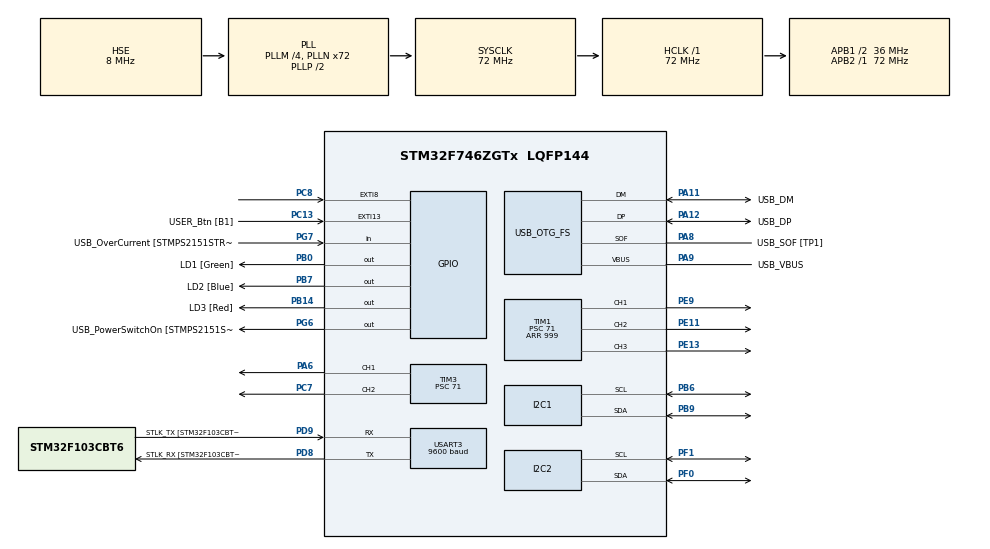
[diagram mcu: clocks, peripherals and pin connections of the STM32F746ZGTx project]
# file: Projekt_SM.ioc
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I2C1.Timing=0x00808CD2
I2C2.Timing=0x00808CD2
Mcu.Family=STM32F7
Mcu.Name=STM32F746ZGTx
Mcu.Package=LQFP144
NVIC.I2C1_ER_IRQn=true\:0\:0\:false\:false\:true\:true\:true
NVIC.I2C1_EV_IRQn=true\:0\:0\:false\:false\:true\:true\:true
NVIC.I2C2_ER_IRQn=true\:0\:0\:false\:false\:true\:true\:true
NVIC.I2C2_EV_IRQn=true\:0\:0\:false\:false\:true\:true\:true
NVIC.PriorityGroup=NVIC_PRIORITYGROUP_4
NVIC.USART3_IRQn=true\:0\:0\:false\:false\:true\:true\:true
PA1.GPIO_Label=RMII_REF_CLK [LAN8742A-CZ-TR_REFCLK0]
PA1.Signal=ETH_REF_CLK
PA10.GPIO_Label=USB_ID
PA10.Signal=USB_OTG_FS_ID
PA11.GPIO_Label=USB_DM
PA11.Mode=Device_Only
PA11.Signal=USB_OTG_FS_DM
PA12.GPIO_Label=USB_DP
PA12.Mode=Device_Only
PA12.Signal=USB_OTG_FS_DP
PA13.GPIO_Label=TMS
PA13.Mode=Serial_Wire
PA13.Signal=SYS_JTMS-SWDIO
PA14.GPIO_Label=TCK
PA14.Mode=Serial_Wire
PA14.Signal=SYS_JTCK-SWCLK
PA2.GPIO_Label=RMII_MDIO [LAN8742A-CZ-TR_MDIO]
PA2.Signal=ETH_MDIO
PA6.Signal=S_TIM3_CH1
PA7.GPIO_Label=RMII_CRS_DV [LAN8742A-CZ-TR_CRS_DV]
PA7.Signal=ETH_CRS_DV
PA8.GPIO_Label=USB_SOF [TP1]
PA8.Mode=Activate_SOF_FS
PA8.Signal=USB_OTG_FS_SOF
PA9.GPIO_Label=USB_VBUS
PA9.Mode=Activate_VBUS
PA9.Signal=USB_OTG_FS_VBUS
PB0.GPIO_Label=LD1 [Green]
PB0.Signal=GPIO_Output
PB13.GPIO_Label=RMII_TXD1 [LAN8742A-CZ-TR_TXD1]
PB13.Signal=ETH_TXD1
PB14.GPIO_Label=LD3 [Red]
PB14.Signal=GPIO_Output
PB3.GPIO_Label=SW0
PB3.Signal=SYS_JTDO-SWO
PB6.Mode=I2C
PB6.Signal=I2C1_SCL
PB7.GPIO_Label=LD2 [Blue]
PB7.Signal=GPIO_Output
PB9.Mode=I2C
PB9.Signal=I2C1_SDA
PC1.GPIO_Label=RMII_MDC [LAN8742A-CZ-TR_MDC]
PC1.Signal=ETH_MDC
PC13.GPIO_Label=USER_Btn [B1]
PC13.Signal=GPXTI13
PC14/OSC32_IN.Mode=LSE-External-Oscillator
PC14/OSC32_IN.Signal=RCC_OSC32_IN
PC15/OSC32_OUT.Mode=LSE-External-Oscillator
PC15/OSC32_OUT.Signal=RCC_OSC32_OUT
PC4.GPIO_Label=RMII_RXD0 [LAN8742A-CZ-TR_RXD0]
PC4.Signal=ETH_RXD0
PC5.GPIO_Label=RMII_RXD1 [LAN8742A-CZ-TR_RXD1]
PC5.Signal=ETH_RXD1
PC7.Signal=S_TIM3_CH2
PC8.Signal=GPXTI8
PD8.GPIO_Label=STLK_RX [STM32F103CBT6_PA3]
PD8.Mode=Asynchronous
PD8.Signal=USART3_TX
PD9.GPIO_Label=STLK_TX [STM32F103CBT6_PA2]
PD9.Mode=Asynchronous
PD9.Signal=USART3_RX
PE11.Signal=S_TIM1_CH2
PE13.Signal=S_TIM1_CH3
PE9.Signal=S_TIM1_CH1
PF0.Mode=I2C
PF0.Signal=I2C2_SDA
PF1.Mode=I2C
PF1.Signal=I2C2_SCL
PG11.GPIO_Label=RMII_TX_EN [LAN8742A-CZ-TR_TXEN]
PG11.Signal=ETH_TX_EN
PG13.GPIO_Label=RMII_TXD0 [LAN8742A-CZ-TR_TXD0]
PG13.Signal=ETH_TXD0
PG6.GPIO_Label=USB_PowerSwitchOn [STMPS2151STR_EN]
PG6.Signal=GPIO_Output
PG7.GPIO_Label=USB_OverCurrent [STMPS2151STR_FAULT]
PG7.Signal=GPIO_Input
PH0/OSC_IN.GPIO_Label=MCO [STM32F103CBT6_PA8]
PH0/OSC_IN.Mode=HSE-External-Clock-Source
PH0/OSC_IN.Signal=RCC_OSC_IN
PH1/OSC_OUT.Mode=HSE-External-Clock-Source
PH1/OSC_OUT.Signal=RCC_OSC_OUT
ProjectManager.HeapSize=0x200
ProjectManager.StackSize=0x400
ProjectManager.TargetToolchain=STM32CubeIDE
RCC.48MHZClocksFreq_Value=24000000
RCC.AHBFreq_Value=72000000
RCC.APB1CLKDivider=RCC_HCLK_DIV2
RCC.APB1Freq_Value=36000000
RCC.APB1TimFreq_Value=72000000
RCC.APB2Freq_Value=72000000
RCC.APB2TimFreq_Value=72000000
RCC.CortexFreq_Value=72000000
RCC.HCLKFreq_Value=72000000
RCC.HSE_VALUE=8000000
RCC.HSI_VALUE=16000000
RCC.PLLM=4
RCC.PLLMUL=RCC_PLL_MUL9
RCC.PLLN=72
RCC.PLLQ=3
RCC.PRESCALERUSB=RCC_USBCLKSOURCE_PLL_DIV1_5
RCC.SYSCLKFreq_VALUE=72000000
RCC.SYSCLKSource=RCC_SYSCLKSOURCE_PLLCLK
RCC.SYSCLKSourceVirtual=RCC_SYSCLKSOURCE_PLLCLK
RCC.USBFreq_Value=48000000
RCC.VCOOutputFreq_Value=144000000
SH.S_TIM1_CH1.0=TIM1_CH1,PWM Generation1 CH1
SH.S_TIM1_CH2.0=TIM1_CH2,PWM Generation2 CH2
SH.S_TIM1_CH3.0=TIM1_CH3,PWM Generation3 CH3
SH.S_TIM3_CH1.0=TIM3_CH1,PWM Generation1 CH1
SH.S_TIM3_CH2.0=TIM3_CH2,PWM Generation2 CH2
TIM1.Channel-PWM\ Generation1\ CH1=TIM_CHANNEL_1
TIM1.Channel-PWM\ Generation2\ CH2=TIM_CHANNEL_2
TIM1.Channel-PWM\ Generation3\ CH3=TIM_CHANNEL_3
TIM1.Period=999
TIM1.Prescaler=71
TIM1.Pulse-PWM\ Generation1\ CH1=500
TIM1.Pulse-PWM\ Generation2\ CH2=500
TIM1.Pulse-PWM\ Generation3\ CH3=500
TIM3.Channel-PWM\ Generation1\ CH1=TIM_CHANNEL_1
TIM3.Channel-PWM\ Generation2\ CH2=TIM_CHANNEL_2
TIM3.Period=999
TIM3.Prescaler=71
USART3.BaudRate=9600
USART3.VirtualMode-Asynchronous=VM_ASYNC
USB_OTG_FS.VirtualMode=Device_Only
VP_TIM1_VS_ClockSourceINT.Mode=Internal
board=NUCLEO-F746ZG

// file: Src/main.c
/* USER CODE BEGIN Header */
/**
  ******************************************************************************
  * @file           : main.c
  * @brief          : Main program body
  ******************************************************************************
  * @attention
  *
  * <h2><center>&copy; Copyright (c) 2020 STMicroelectronics.
  * All rights reserved.</center></h2>
  *
  * This software component is licensed by ST under BSD 3-Clause license,
  * the "License"; You may not use this file except in compliance with the
  * License. You may obtain a copy of the License at:
  *                        opensource.org/licenses/BSD-3-Clause
  *
  ******************************************************************************
  */
/* USER CODE END Header */

#include "main.h"
#include "i2c.h"
#include "tim.h"
#include "usart.h"
#include "usb_otg.h"
#include "gpio.h"

/* USER CODE BEGIN Includes */
#include "bh1750.h"
#include "stdio.h"
#include "string.h"
#include "math.h"
/* USER CODE END Includes */

/* USER CODE BEGIN PV */
float BH1750_lux_1; //!< warość odczytu z czujnika
int BH1750_lux_int_1; //!< wartość odczytu z czujnika przekonwertowany do int
uint8_t size;  //!< rozmiar wiadomości z sprintf
char msg[3]; //!< bufor odbioru USART
char buffer[40];  //!< bufor wysyłu USART
int NightMode=10; //!< zmienna pomocnicza do PWM trybu nocnego
float J_z;  //!< jasnosc zadana
float J_f;  //!< jasnosc wyliczona
int wyp; //!< wypełnienie PWM
int pom=0; //!< sterująca do wyświetlania podglądu zmiennych
/* USER CODE END PV */

void SystemClock_Config(void);

int main(void)
{

  /* MCU Configuration--------------------------------------------------------*/

  /* Reset of all peripherals, Initializes the Flash interface and the Systick. */
  HAL_Init();

  /* Configure the system clock */
  SystemClock_Config();

  /* Initialize all configured peripherals */
  MX_GPIO_Init();
  MX_USART3_UART_Init();
  MX_USB_OTG_FS_PCD_Init();
  MX_I2C1_Init();
  MX_I2C2_Init();
  MX_TIM3_Init();
  MX_TIM1_Init();
  /* USER CODE BEGIN 2 */

  /*! Ustawienie używanych modułów komunikacji i PWM */
  HAL_UART_Receive_IT(&huart3, msg, 3);
  BH1750_Init(&hi2c2);
  BH1750_SetMode(CONTINUOUS_HIGH_RES_MODE_2);
  HAL_TIM_PWM_Start(&htim1, TIM_CHANNEL_1);
  HAL_TIM_PWM_Start(&htim1, TIM_CHANNEL_2);
  HAL_TIM_PWM_Start(&htim1, TIM_CHANNEL_3);

  /* USER CODE END 2 */

  /* Infinite loop */
  /* USER CODE BEGIN WHILE */

  J_z=__HAL_TIM_GET_COMPARE(&htim1, TIM_CHANNEL_1);
  /*! pętla główna */
  while (1)
  {
	 	  if(BH1750_OK == BH1750_ReadLight(&BH1750_lux_1))
	 	  {
	 		 BH1750_lux_int_1 = BH1750_lux_1;

	 		 J_f=J_z*((1000-BH1750_lux_1)/1000);
	 		 wyp=J_f/(0.75);

			/*! domyślne ustawienie wartości PWM */
	 		 if(wyp>0 && wyp <=1000)
	 		 {
	 			__HAL_TIM_SET_COMPARE(&htim1, TIM_CHANNEL_1, wyp);
	 			__HAL_TIM_SET_COMPARE(&htim1, TIM_CHANNEL_2, wyp*NightMode/10);
	 			__HAL_TIM_SET_COMPARE(&htim1, TIM_CHANNEL_3, wyp*NightMode/10);
	 		 }
			 /*! reakcja gdy podana warość wykracza poza zakres */
	 		 else if(wyp>1000)
	 		 {
	 			 wyp=1000;
	 			__HAL_TIM_SET_COMPARE(&htim1, TIM_CHANNEL_1, wyp);
	 			__HAL_TIM_SET_COMPARE(&htim1, TIM_CHANNEL_2, wyp*NightMode/10);
	 			__HAL_TIM_SET_COMPARE(&htim1, TIM_CHANNEL_3, wyp*NightMode/10);
	 		 }
			 /*! wyłączenie światła */
	 		 else
	 		 {
	 			 wyp=0;
	 			__HAL_TIM_SET_COMPARE(&htim1, TIM_CHANNEL_1, wyp);
	 			__HAL_TIM_SET_COMPARE(&htim1, TIM_CHANNEL_2, wyp*NightMode/10);
	 			__HAL_TIM_SET_COMPARE(&htim1, TIM_CHANNEL_3, wyp*NightMode/10);
	 		 }
			 /*! Wysłanie statusu po porcie szeregowym */
	 		 if(pom==1)
	 		 {
	 			 size = sprintf(buffer, "%d,%d,%d;\n\r",(int)J_z,BH1750_lux_int_1,wyp);
	 			 HAL_UART_Transmit_IT(&huart3, buffer, size);
	 			 HAL_Delay(10);
	 		 }
	 	  }

    /* USER CODE END WHILE */

  }
}

void SystemClock_Config(void)
{
  RCC_OscInitTypeDef RCC_OscInitStruct = {0};
  RCC_ClkInitTypeDef RCC_ClkInitStruct = {0};
  RCC_PeriphCLKInitTypeDef PeriphClkInitStruct = {0};

  /** Configure LSE Drive Capability
  */
  HAL_PWR_EnableBkUpAccess();
  /** Configure the main internal regulator output voltage
  */
  __HAL_RCC_PWR_CLK_ENABLE();
  __HAL_PWR_VOLTAGESCALING_CONFIG(PWR_REGULATOR_VOLTAGE_SCALE3);
  /** Initializes the CPU, AHB and APB busses clocks
  */
  RCC_OscInitStruct.OscillatorType = RCC_OSCILLATORTYPE_HSE;
  RCC_OscInitStruct.HSEState = RCC_HSE_BYPASS;
  RCC_OscInitStruct.PLL.PLLState = RCC_PLL_ON;
  RCC_OscInitStruct.PLL.PLLSource = RCC_PLLSOURCE_HSE;
  RCC_OscInitStruct.PLL.PLLM = 4;
  RCC_OscInitStruct.PLL.PLLN = 72;
  RCC_OscInitStruct.PLL.PLLP = RCC_PLLP_DIV2;
  RCC_OscInitStruct.PLL.PLLQ = 3;
  if (HAL_RCC_OscConfig(&RCC_OscInitStruct) != HAL_OK)
  {
    Error_Handler();
  }
  /** Initializes the CPU, AHB and APB busses clocks
  */
  RCC_ClkInitStruct.ClockType = RCC_CLOCKTYPE_HCLK|RCC_CLOCKTYPE_SYSCLK
                              |RCC_CLOCKTYPE_PCLK1|RCC_CLOCKTYPE_PCLK2;
  RCC_ClkInitStruct.SYSCLKSource = RCC_SYSCLKSOURCE_PLLCLK;
  RCC_ClkInitStruct.AHBCLKDivider = RCC_SYSCLK_DIV1;
  RCC_ClkInitStruct.APB1CLKDivider = RCC_HCLK_DIV2;
  RCC_ClkInitStruct.APB2CLKDivider = RCC_HCLK_DIV1;

  if (HAL_RCC_ClockConfig(&RCC_ClkInitStruct, FLASH_LATENCY_2) != HAL_OK)
  {
    Error_Handler();
  }
  PeriphClkInitStruct.PeriphClockSelection = RCC_PERIPHCLK_USART3|RCC_PERIPHCLK_I2C1
                              |RCC_PERIPHCLK_I2C2|RCC_PERIPHCLK_CLK48;
  PeriphClkInitStruct.Usart3ClockSelection = RCC_USART3CLKSOURCE_PCLK1;
  PeriphClkInitStruct.I2c1ClockSelection = RCC_I2C1CLKSOURCE_PCLK1;
  PeriphClkInitStruct.I2c2ClockSelection = RCC_I2C2CLKSOURCE_PCLK1;
  PeriphClkInitStruct.Clk48ClockSelection = RCC_CLK48SOURCE_PLL;
  if (HAL_RCCEx_PeriphCLKConfig(&PeriphClkInitStruct) != HAL_OK)
  {
    Error_Handler();
  }
}

/* USER CODE BEGIN 4 */

/*! przerwanie od USARTa*/
void HAL_UART_RxCpltCallback(UART_HandleTypeDef *huart)
{
	if(huart->Instance == USART3)
	{

	char value1[3];

	int value_i1;

	value1[0] = msg[0];
	value1[1] = msg[1];
	value1[2] = msg[2];

	value_i1 = 10*(atoi(value1));

	if(atoi(value1) <=100)
	{
		J_z=value_i1;
	}

	/*! włączenie trybu nocnego */
	if(atoi(value1) == 999)
	{
		HAL_GPIO_WritePin(LD2_GPIO_Port, LD2_Pin, GPIO_PIN_SET);
		NightMode=4;
		wyp=__HAL_TIM_GET_COMPARE(&htim1, TIM_CHANNEL_1);
		size=sprintf(buffer,"NIGHT MODE ON\n\r");
		HAL_UART_Transmit_IT(&huart3, buffer, size);
		__HAL_TIM_SET_COMPARE(&htim1, TIM_CHANNEL_1, wyp);
		__HAL_TIM_SET_COMPARE(&htim1, TIM_CHANNEL_2, wyp*NightMode/10);
		__HAL_TIM_SET_COMPARE(&htim1, TIM_CHANNEL_3, wyp*NightMode/10);
	}
	/*! wyłączenie trybu nocnego */
	if(atoi(value1) == 998)
	{
		HAL_GPIO_WritePin(LD2_GPIO_Port, LD2_Pin, GPIO_PIN_RESET);
		NightMode=10;
		wyp=__HAL_TIM_GET_COMPARE(&htim1, TIM_CHANNEL_1);
		size=sprintf(buffer,"NIGHT MODE OFF\n\r");
		HAL_UART_Transmit_IT(&huart3, buffer, size);
		__HAL_TIM_SET_COMPARE(&htim1, TIM_CHANNEL_1, wyp);
		__HAL_TIM_SET_COMPARE(&htim1, TIM_CHANNEL_2, wyp*NightMode/10);
		__HAL_TIM_SET_COMPARE(&htim1, TIM_CHANNEL_3, wyp*NightMode/10);
	}
	/*! sprawdzanie statusu przez użytkownika */
	if(atoi(value1) == 997)
	{
		if(BH1750_OK == BH1750_ReadLight(&BH1750_lux_1))
		{
			BH1750_lux_int_1 = BH1750_lux_1;
		}
		int state=__HAL_TIM_GET_COMPARE(&htim1, TIM_CHANNEL_1);
		size = sprintf(buffer, "%d, %d;\n\r", BH1750_lux_int_1,state);
		HAL_UART_Transmit_IT(&huart3,buffer, size);
	}
	if(atoi(value1) == 996) //State check
		{
			pom^=1;
		}
	/*! zabezpieczenie przed wartością spoza zakresu */
	if(atoi(value1) >100 && atoi(value1) < 996)
	{
		value_i1=__HAL_TIM_GET_COMPARE(&htim1, TIM_CHANNEL_1);
		size=sprintf(buffer,"WRONG VALUE\n\r");
		HAL_UART_Transmit_IT(&huart3, buffer, size);
	}

HAL_UART_Receive_IT(&huart3, msg, 3);
	}
}

/* USER CODE END 4 */

void Error_Handler(void)
{
}

/************************ (C) COPYRIGHT STMicroelectronics *****END OF FILE****/
